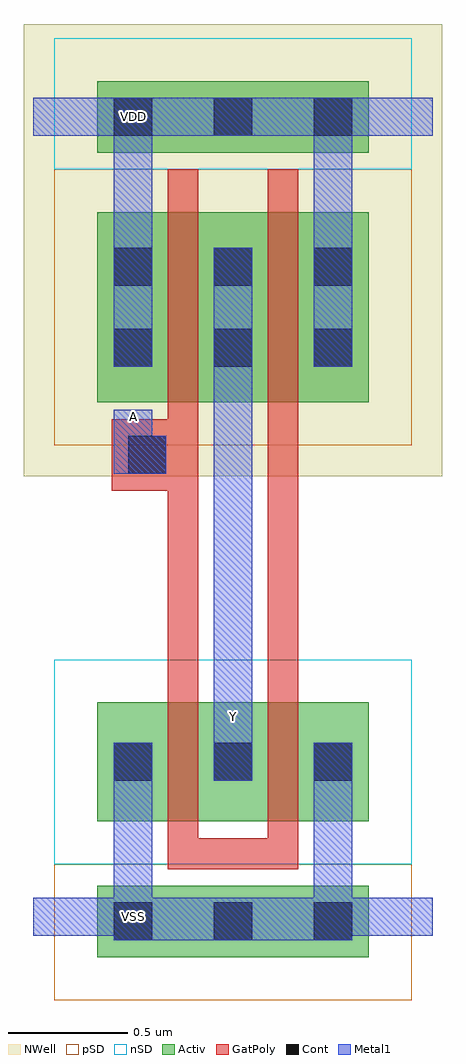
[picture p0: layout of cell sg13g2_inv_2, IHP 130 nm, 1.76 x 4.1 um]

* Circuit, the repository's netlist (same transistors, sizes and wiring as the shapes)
* sg13g2_inv_2 -- generated by design/gen_netlists.py from example_config.json; do not edit.
* family inv, drive 2, L=130n, supply 1.20 V.
* Y = !A
.subckt sg13g2_inv_2 A Y VDD VSS
XMN0 Y A VSS VSS sg13_lv_nmos w=1000n l=130n ng=2 m=1
XMP0 Y A VDD VDD sg13_lv_pmos w=1600n l=130n ng=2 m=1
.ends sg13g2_inv_2

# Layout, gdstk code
import gdstk
lib = gdstk.Library(unit=1e-6, precision=1e-09)
def R(c, l, rs):  # rectangles x0, y0, x1, y1
    for r in rs: c.add(gdstk.rectangle(r[:2], r[2:], *l))
def A(c, l, x, y, w, h, nx, ny, dx, dy):  # array of equal rectangles
    R(c, l, [(x+i*dx, y+j*dy, x+i*dx+w, y+j*dy+h) for i in range(nx) for j in range(ny)])
Activ = (1, 0)
GatPoly = (5, 0)
Cont = (6, 0)
nSD = (7, 0)
Metal1 = (8, 0)
pSD = (14, 0)
NWell = (31, 0)

sg13g2_inv_2 = lib.new_cell('sg13g2_inv_2')
R(sg13g2_inv_2, Activ, [(0.27,-0.17,1.41,0.13), (0.27,0.4,1.41,0.9), (0.27,2.16,1.41,2.96), (0.27,3.21,1.41,3.51)])
R(sg13g2_inv_2, GatPoly, [(0.565,0.2,0.695,3.14), (0.565,0.2,1.115,0.33), (0.985,0.2,1.115,3.14), (0.33,1.79,0.695,2.09)])
A(sg13g2_inv_2, Cont, 0.34, -0.1, 0.16, 0.16, 3, 2, 0.42, 0.67)
A(sg13g2_inv_2, Cont, 0.34, 2.31, 0.16, 0.16, 3, 2, 0.42, 0.34)
A(sg13g2_inv_2, Cont, 0.34, 3.28, 0.16, 0.16, 3, 1, 0.42, 0)
R(sg13g2_inv_2, Cont, [(0.4,1.86,0.56,2.02)])
R(sg13g2_inv_2, nSD, [(0.09,0.22,1.59,1.08), (0.09,3.14,1.59,3.69)])
R(sg13g2_inv_2, Metal1, [(0.34,-0.1,1.34,0.08), (0,-0.08,1.68,0.08), (0.34,-0.08,0.5,0.73), (1.18,-0.08,1.34,0.73), (0.76,0.57,0.92,1.17), (0.76,1.01,0.92,1.17), (0.76,1.01,0.92,2.81), (0.34,1.86,0.5,2.13), (0.34,1.86,0.56,2.02), (0.34,2.31,0.5,3.44), (1.18,2.31,1.34,3.44), (0,3.28,1.68,3.44), (0.34,3.28,1.34,3.44)])
R(sg13g2_inv_2, pSD, [(0.09,-0.35,1.59,0.22), (0.09,1.98,1.59,3.14)])
R(sg13g2_inv_2, NWell, [(-0.04,1.85,1.72,3.75)])
sg13g2_inv_2.add(gdstk.Label('VSS', (0.42,0), layer=8, texttype=25))
sg13g2_inv_2.add(gdstk.Label('A', (0.42,2.1), layer=8, texttype=25))
sg13g2_inv_2.add(gdstk.Label('VDD', (0.42,3.36), layer=8, texttype=25))
sg13g2_inv_2.add(gdstk.Label('Y', (0.84,0.84), layer=8, texttype=25))

lib.write_gds('sg13g2_inv_2.gds')
